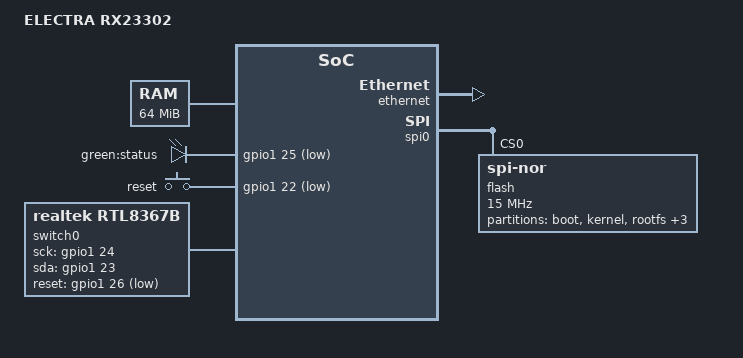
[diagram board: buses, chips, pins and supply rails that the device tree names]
// SPDX-License-Identifier: GPL-2.0
/*
 * ELECTRA-RX23302 (Ростелеком) — Realtek RTL8197FH-VG
 *
 * Всё, что ниже, снято с живого устройства 2026-08-11:
 *   /proc/mtd, /proc/cpuinfo, /proc/iomem, /proc/interrupts,
 *   полный boot-log с холодного старта (bootcode v3.4T-pre4.6).
 *
 *   SoC     RTL8197FH-VG, MIPS 24Kc @ 999 MHz
 *   DRAM    DDR2 533 MHz, 64 МБ  ("Detect dram size = 64MB (0x04000000)")
 *   Flash   XM25QH128C (XMC), 16 МБ, erase 4K, ядро гоняет SPI на 41 MHz
 *   Switch  RTL8367RB (маркировка на чипе), гигабит подтверждён линком 1 Gbps
 *   WiFi    2.4G встроенный в SoC; 5G RTL8812FE по PCIe 10ec:f812
 *   UART    ttyS0 @ 0x18147000, 38400 8N1
 *
 * За основу взят Device/GWR1200AC — у него совпадают адрес загрузки
 * 0x80A00000 (в нашем логе "Jump to image start=0x80a00000"),
 * адрес ядра 0x30000 и консоль 38400.
 */

/dts-v1/;

#include "RTL8197FVG.dtsi"

#include <dt-bindings/gpio/gpio.h>
#include <dt-bindings/input/input.h>

/ {
	compatible = "electra,rx23302", "realtek,rtl8197f-soc";
	model = "ELECTRA RX23302";

	memory {
		device_type = "memory";
		reg = <0x0 0x4000000>;
	};

	chosen {
		bootargs = "console=ttyS0,38400";
	};
};

/*
 * Светодиод Status — линия H1 (gpio1 бит 25), активный низкий.
 * Найден на стоке (структура gpio_led: wifi2.4=33, wifi5=100, status=57,
 * trigger=timer) и проверен руками 29.10.2026: 0 на линии = горит.
 * 2.4G LED там же ждёт своего часа (пин E1 не отдаётся без pinmux).
 */
/ {
	leds {
		compatible = "gpio-leds";
		status = "okay";

		status_led: status {
			label = "green:status";
			gpios = <&gpio1 25 GPIO_ACTIVE_LOW>;
			default-state = "on";
		};
	};
};

&gpio0 {
	status = "okay";
};

&gpio1 {
	status = "okay";
};

/*
 * Кнопка Reset - линия 54 (порт G пин 6, gpio1 бит 22), нажата = 0.
 * Reset button - line 54 (port G pin 6, gpio1 bit 22), active low.
 *
 * Проверено на железе 21.10.2026: при нажатии меняется только этот бит
 * (0xB8003528, 05C00001 -> 05800001). Тот же вывод читает загрузчик:
 * Reset, зажатый при включении питания, открывает аварийный TFTP
 * (192.168.1.6), см. docs/install-tftp.md.
 * Verified on hardware: only this bit changes when pressed. The
 * bootloader reads the same pin: hold Reset at power-on to get its
 * TFTP recovery (192.168.1.6), see docs/install-tftp.md.
 *
 * Опрос, а не прерывание: прерывания этого GPIO-контроллера не проверены.
 * Polled, not interrupt-driven: GPIO IRQs of this controller are untested.
 */
/ {
	keys {
		compatible = "gpio-keys-polled";
		poll-interval = <20>;

		reset {
			label = "reset";
			gpios = <&gpio1 22 GPIO_ACTIVE_LOW>;
			linux,code = <KEY_RESTART>;
			debounce-interval = <60>;
		};
	};
};

&ethernet {
	status = "okay";

	/*
	 * MAC берётся из флеша: nvmem-ячейка "mac-address" указывает на
	 * заводскую запись в hwconfig (boot, 0x20007, 6 байт) - у каждой
	 * коробки своя, прошивкой не затирается. Realtek шьёт её с первым
	 * байтом 00, но заводской ставить в eth0 нельзя: во внутреннем
	 * свитче на него осталась статическая запись, привязанная к другому
	 * порту, - с ним умирает передача. Драйвер поднимает признак
	 * местного назначения: 00 -> 02. Нет записи во флеше - MAC из
	 * device tree, нет и там - случайный при каждой загрузке (профили
	 * "Сеть 3", "Сеть 6" и дальше в Windows).
	 */
	nvmem-cells = <&mac_factory>;
	nvmem-cell-names = "mac-address";
};


/*
 * Внешний коммутатор RTL8367D (номер 0x6642, версия 0x0030).
 * External RTL8367D switch (chip number 0x6642, version 0x0030).
 *
 * Драйвер - rtl8367b из OpenWrt (GPL, swconfig) с поддержкой этой
 * версии чипа; шина SMI на GPIO (порт H пин 0 = SCK, порт G пин 7 =
 * SDA), сброс - порт H пин 2. Номер линии в gpio1 = порт * 8 + пин - 32.
 *
 * Гнёзда: синий WAN = порт 0, LAN1 = порт 3, LAN2 = порт 4,
 * процессор = порт 7 (RGMII, внешний интерфейс 1). Порты 1, 2, 5, 6
 * не разведены.
 *
 * realtek,init-regs - настройка платы, которую драйвер пишет сразу
 * после таблицы самого чипа: значения, снятые с работающего
 * загрузчика, подъём RGMII порта 7 (0x12c7/0x12cf принудительная
 * связь 1000/полный, 0x1d70 MAC7 на EXT1, третья часть идёт подряд,
 * без пауз - иначе связь не поднимается) и CPU-тег на приём
 * (0x121a = 0x0239, 4 байта, ловушка - порт 7). Порядок важен.
 * Те же записи и в том же порядке делала прошивка v6.7 (149 штук,
 * повторы оставлены как были).
 *
 * Исключение - 0x1b03 (LED_CONFIGURATION, общий для всех портов):
 * у загрузчика 0x0936, с ним лампы WAN/LAN не горят. 0x0222 - линк и
 * мигание при передаче; проверено глазами на WAN, LAN1, LAN2 21.10.2026.
 * Каким портам выведены лампы - 0x1b24/0x1b25 (маска 0x1f = порты 0-4).
 * Exception: 0x1b03 (LED mode, all ports) is 0x0222 = link/activity;
 * the bootloader value 0x0936 leaves the port LEDs dark.
 */
/ {
	switch0: switch {
		compatible = "realtek,rtl8367b";
		sck-gpios = <&gpio1 24 GPIO_ACTIVE_HIGH>;	/* линия 56, H0 */
		sda-gpios = <&gpio1 23 GPIO_ACTIVE_HIGH>;	/* линия 55, G7 */
		reset-gpios = <&gpio1 26 GPIO_ACTIVE_LOW>;	/* линия 58, H2 */
		realtek,cpu-port = <7>;
		realtek,init-regs = <
			0x1b24 0x001f 0x1b24 0x1f1f 0x03f7 0x0000 0x1305 0xc010
			0x1311 0x1076 0x1307 0x0002 0x121a 0x0001 0x1219 0x0040
			0x121a 0x0031 0x121a 0x0035 0x0890 0x00ff 0x0891 0x00ff
			0x0892 0x00ff 0x0073 0x0060 0x0243 0x0086 0x0500 0x0000
			0x0501 0x0000 0x0510 0x0000 0x0890 0x009f 0x0891 0x009f
			0x0892 0x009f 0x0893 0x009f 0x0894 0x009f 0x0895 0x009f
			0x0896 0x009f 0x0897 0x009f 0x0898 0x009f 0x0899 0x009f
			0x089a 0x009f 0x089b 0x009f 0x089c 0x009f 0x089d 0x009f
			0x089e 0x009f 0x089f 0x009f 0x08a0 0x009f 0x08a1 0x009f
			0x08a2 0x008f 0x08a3 0x008f 0x08a4 0x008f 0x08a5 0x008f
			0x08a6 0x0090 0x0a26 0x0840 0x0a32 0x0bb8 0x0a33 0x0bb8
			0x0a34 0x0bb8 0x0a35 0x0bb8 0x1106 0x0000 0x1118 0x0000
			0x1119 0x000b 0x1124 0x0088 0x1219 0x0080 0x121a 0x00bd
			0x121b 0x00bd 0x12c1 0x0000 0x12cf 0xffff 0x12d7 0x0076
			0x12d8 0x0076 0x12d9 0x0076 0x12da 0x0076 0x12db 0x0076
			0x12dc 0x0076 0x12dd 0x0076 0x12de 0x0076 0x12df 0x0076
			0x12e0 0x0076 0x12e1 0x0076 0x12e2 0x0076 0x12e3 0x0076
			0x12e4 0x0076 0x12e5 0x0076 0x12e6 0x0076 0x1300 0x0000
			0x1303 0x07d6 0x1304 0x7544 0x1305 0x0010 0x1307 0x0002
			0x130c 0x0053 0x1336 0x0050 0x1337 0x0050 0x1338 0x0050
			0x1339 0x0050 0x133a 0x0050 0x133b 0x0050 0x133c 0x0050
			0x133f 0x001f 0x1344 0x0200 0x1345 0x0200 0x1346 0x0200
			0x1347 0x0200 0x1348 0x0200 0x13c2 0x0000 0x13e0 0x0000
			0x13e2 0x0120 0x1d1a 0x0100 0x1d52 0x2411 0x1d53 0x8000
			0x1d54 0x0008 0x1d58 0x0000 0x1d59 0x2411 0x1d5a 0x8000
			0x1d5b 0x0008 0x1d63 0x03f0 0x1f00 0x0000 0x1f02 0x0000
			0x03f7 0x0000 0x1305 0x0011 0x1310 0x1076 0x03f7 0x0000
			0x1305 0x0011 0x1311 0x1076 0x03f7 0x0000 0x13c3 0x0001
			0x13c4 0x1076 0x08a2 0x00ff 0x08a3 0x00ff 0x08a4 0x00ff
			0x08a5 0x00ff 0x08a6 0x00ff 0x08a7 0x00ff 0x08a8 0x00ff
			0x08a9 0x00ff 0x08a2 0x008f 0x08a6 0x0090 0x0918 0x0000
			0x091d 0x0000 0x1119 0x000b 0x1200 0x1fc6 0x121e 0x0794
			0x12d7 0x0076 0x12f6 0x2e2c 0x1b03 0x0222 0x1d1a 0x0100
			0x1d1b 0xdd60 0x1d70 0x2000 0x1dad 0x97f3 0x1233 0x06a4
			0x1234 0x00c8 0x1237 0x0140 0x1238 0x00f0 0x1239 0x0108
			0x123a 0x0060 0x12af 0x0000 0x12c7 0x0076 0x08a2 0x00ff
			0x08a3 0x00ff 0x08a4 0x00ff 0x08a5 0x00ff 0x08a6 0x00ff
			0x121a 0x0239
		>;
	};
};

&spi0 {
	status = "okay";

	flash@0 {
		#address-cells = <1>;
		#size-cells = <1>;
		compatible = "jedec,spi-nor";
		reg = <0>;
		/*
		 * 15 МГц, как у стока. Не 41: наш драйвер шины считает делитель
		 * как ceil(105МГц / частота), при 41 выходит делитель 3, то есть
		 * 35 МГц, и чтение с флеша возвращает мусор — ядро не находит
		 * squashfs там, где загрузчик его прекрасно читает. Сток в своём
		 * логе печатает "change speed to 15000000Hz, div 7" и больше
		 * скорость не меняет.
		 */
		spi-max-frequency = <15000000>;

		/*
		 * Флеш 16 МБ, два набора по 8 МБ.
		 *
		 * Набор 1 (0x000000..0x800000) — рабочий, сюда ставим OpenWrt.
		 * Иначе нельзя, и это проверено: загрузчик ищет ядро только внизу
		 * флеша (перебор 0x10000..0x2F0000) и на 0x830000 не смотрит никогда,
		 * а стоковая утилита двойной загрузки затирает набор 2 копией
		 * набора 1 — она сама пишет об этом при загрузке:
		 *   "dual boot utility: image already copied to backup bank"
		 *
		 * Набор 2 (0x800000..0x1000000) — заводская копия, только чтение.
		 * Это путь отката, причём без компьютера: у загрузчика есть чтение
		 * FLR, запись FLW и сравнение CMP, то есть восстановление это
		 * "прочитать 0x830000 в память, записать на 0x30000".
		 *
		 * Смещения подтверждены трижды: /proc/mtd стока, вывод его же
		 * утилиты двойной загрузки и прямое чтение флеша командой FLR:
		 *   linux_offset=0x30000,      rootfs_offset=0x300000
		 *   back_linux_offset=0x830000, back_rootfs_offset=0xB00000
		 *
		 * 0x0..0x30000 трогать нельзя никогда: там bootcode (0x0..0x20000)
		 * и hwconfig (0x20000..0x30000) с MAC-адресами, калибровкой радио
		 * и заводскими настройками — теми самыми, что возвращает кнопка
		 * сброса через драйвер "Realtek GPIO Driver for Flash Reload Default".
		 */

		/*
		 * Обёртка partitions обязательна: без неё ядро не считает
		 * разделы описанными в device tree, делает их своими, и у
		 * nvmem-устройств нет узла DT - ячейку "mac-address" тогда
		 * не от кого читать (of_nvmem_cell_get: ENOENT).
		 */
		partitions {
			compatible = "fixed-partitions";
			#address-cells = <1>;
			#size-cells = <1>;

			partition@0 {
				label = "boot";
				reg = <0x000000 0x030000>;
				read-only;

				#address-cells = <1>;
				#size-cells = <1>;

				/*
				 * Заводская таблица MAC (hwconfig): заголовок "H601" на
				 * 0x20000, дальше десять записей по 6 байт (eth, радио).
				 * Первая - системная, у каждой коробки своя, прошивкой
				 * не затирается. Снято со сток-дампа 20.10.2026.
				 *
				 * Канон 6.18: ячейка живёт в nvmem-layout - иначе её не
				 * от кого читать, у mtd-nvmem нет своего узла DT.
				 */
				nvmem-layout {
					compatible = "fixed-layout";
					#address-cells = <1>;
					#size-cells = <1>;

					mac_factory: macaddr@20007 {
						compatible = "mac-base";
						reg = <0x20007 0x6>;
					};
				};
			};

			partition@30000 {
				label = "kernel";
				reg = <0x030000 0x2d0000>;
			};

			/*
			 * Корневая система занимает ровно свой раздел и ни байтом больше.
			 *
			 * Хвост под настройки выкраивать из неё НЕЛЬЗЯ, хотя OpenWrt умеет
			 * это сама: она кладёт его сразу за телом squashfs, а ровно там
			 * загрузчик держит два байта своей контрольной суммы. Проверено
			 * дорогой ценой — команда стирания этого хвоста снесла сумму, и на
			 * следующей загрузке загрузчик посчитал набор негодным и затёр нашу
			 * прошивку заводской копией из второго банка.
			 *
			 * Поэтому CONFIG_MTD_SPLIT_SQUASHFS_ROOT выключен, а место под
			 * настройки объявлено отдельным разделом ниже.
			 *
			 * 3 МБ: тело нашего образа 0x233002, запас около 850 КБ.
			 */
			partition@300000 {
				label = "rootfs";
				reg = <0x300000 0x300000>;
			};

			/* Настройки: до контрольной суммы отсюда не дотянуться. */
			partition@600000 {
				label = "rootfs_data";
				reg = <0x600000 0x1a0000>;
			};

			partition@7a0000 {
				label = "cfg";
				reg = <0x7a0000 0x060000>;
				read-only;
			};

			partition@800000 {
				label = "stock";
				reg = <0x800000 0x800000>;
				read-only;
			};
		};
	};
};

/*
 * ─────────────────────────────────────────────────────────────────
 * ЕЩЁ НЕ ОПИСАНО — нет достоверных данных:
 *
 * 1. Ethernet + свитч RTL8367RB.
 *    Свитч сконфигурирован стоком на 5 интерфейсов, физически на корпусе
 *    3 разъёма (1 WAN + 2 LAN). Из boot-лога:
 *      eth1 (port mask 0x01, VLAN 1) = WAN
 *      LAN — два из {eth3:0x02, eth4:0x04, eth0:0x08, eth2:0x10}
 *    Какие именно распаяны — определяется поочерёдным втыканием кабеля.
 *    В mainline есть DSA-драйвер rtl8365mb (compatible "realtek,rtl8365mb"),
 *    в его bindings RTL8367RB-VB присутствует.
 *
 * 2. Светодиоды. В /bin/led_test.sh стока: LAN_LEDS="54 55 56 57",
 *    58 (статус), 11 (USB). Этот скрипт НЕ про нашу плату: 54 - кнопка
 *    Reset (проверено нажатием 21.10.2026, узел keys выше), 55/56 - SMI
 *    свитча, 58 - его сброс. Где светодиоды на самом деле - не проверено.
 *
 * 3. WiFi-узлы — появятся, когда заведём rtl8192cd с halmac_8197f.
 * ─────────────────────────────────────────────────────────────────
 */

/*
 * ─────────────────────────────────────────────────────────────────
 * Шина PCIe, 30.08.2026.
 *
 * Драйвер вайфая rtl8192cd регистрируется как PCI-устройство
 * (pci_register_driver в 8192cd_osdep.c:14218), поэтому без шины он
 * не увидит ни встроенную радиочасть, ни карту 5 ГГц.
 *
 * Узел контроллера описан в RTL819X.dtsi и стоял выключенным. Драйвер
 * контроллера у нас есть: arch/mips/pci/pci-realtek.c, 469 строк,
 * подключён заплатой 0005 по CONFIG_REALTEK, совпадение по строке
 * "realtek,rtl8196b-pci".
 *
 * Второй контроллер (pcie1) пока не трогаем: сперва посмотрим, что
 * даст первый.
 * ─────────────────────────────────────────────────────────────────
 */
/*
 * Узел оставлен ВЫКЛЮЧЕННЫМ: встроенная радиочасть подключается
 * прямым адресом (TYPE_EMBEDDED), шина PCI ей не нужна, а её включение
 * подвешивало загрузку. Понадобится только для карты 5 ГГц.
 */
/* &pcie0 { status = "okay"; }; */
